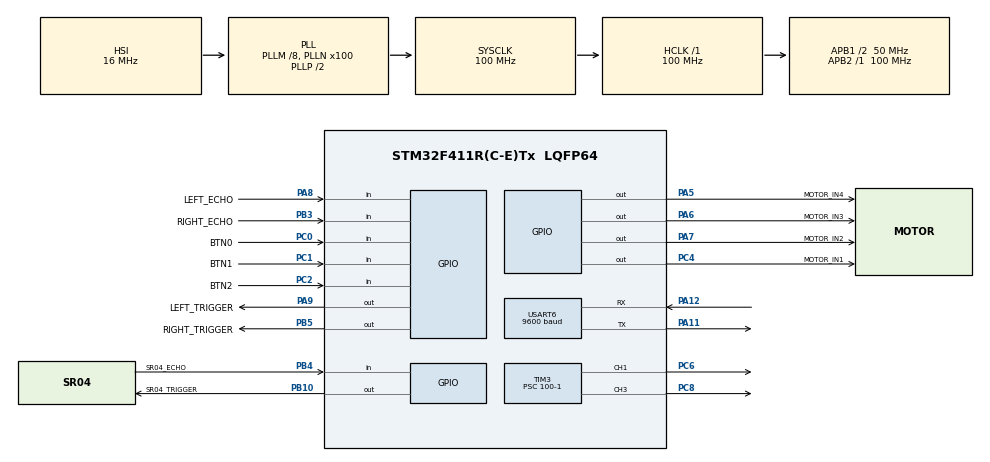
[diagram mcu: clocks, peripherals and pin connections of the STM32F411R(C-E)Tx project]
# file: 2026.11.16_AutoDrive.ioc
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FREERTOS.Tasks01=defaultTask,0,128,StartDefaultTask,Default,NULL,Dynamic,NULL,NULL;ButtonTask,1,256,StartButtonTask,Default,NULL,Dynamic,NULL,NULL;UltrasonicTask,-3,256,StartUltrasonic,Default,NULL,Dynamic,NULL,NULL;BluetoothTask,1,256,StartBluetoothTask,Default,NULL,Dynamic,NULL,NULL;ControlTask,1,256,StartControlTask,Default,NULL,Dynamic,NULL,NULL;MotorTask,2,256,StartMotorTask,Default,NULL,Dynamic,NULL,NULL
FREERTOS.configUSE_NEWLIB_REENTRANT=1
Mcu.Family=STM32F4
Mcu.Name=STM32F411R(C-E)Tx
Mcu.Package=LQFP64
NVIC.PriorityGroup=NVIC_PRIORITYGROUP_4
NVIC.TIM1_TRG_COM_TIM11_IRQn=true\:15\:0\:false\:false\:true\:false\:false\:true\:true
NVIC.TimeBase=TIM1_TRG_COM_TIM11_IRQn
NVIC.TimeBaseIP=TIM11
NVIC.USART6_IRQn=true\:5\:0\:false\:false\:true\:true\:true\:true\:true
PA11.Mode=Asynchronous
PA11.Signal=USART6_TX
PA12.Mode=Asynchronous
PA12.Signal=USART6_RX
PA13.Mode=Serial_Wire
PA13.Signal=SYS_JTMS-SWDIO
PA14.Mode=Serial_Wire
PA14.Signal=SYS_JTCK-SWCLK
PA5.GPIO_Label=MOTOR_IN4
PA5.Signal=GPIO_Output
PA6.GPIO_Label=MOTOR_IN3
PA6.Signal=GPIO_Output
PA7.GPIO_Label=MOTOR_IN2
PA7.Signal=GPIO_Output
PA8.GPIO_Label=LEFT_ECHO
PA8.Signal=GPIO_Input
PA9.GPIO_Label=LEFT_TRIGGER
PA9.Signal=GPIO_Output
PB10.GPIO_Label=SR04_TRIGGER
PB10.Signal=GPIO_Output
PB3.GPIO_Label=RIGHT_ECHO
PB3.Signal=GPIO_Input
PB4.GPIO_Label=SR04_ECHO
PB4.Signal=GPIO_Input
PB5.GPIO_Label=RIGHT_TRIGGER
PB5.Signal=GPIO_Output
PC0.GPIO_Label=BTN0
PC0.GPIO_PuPd=GPIO_NOPULL
PC0.Signal=GPIO_Input
PC1.GPIO_Label=BTN1
PC1.GPIO_PuPd=GPIO_NOPULL
PC1.Signal=GPIO_Input
PC2.GPIO_Label=BTN2
PC2.GPIO_PuPd=GPIO_NOPULL
PC2.Signal=GPIO_Input
PC4.GPIO_Label=MOTOR_IN1
PC4.Signal=GPIO_Output
PC6.Signal=S_TIM3_CH1
PC8.Signal=S_TIM3_CH3
PH0\ -\ OSC_IN.Mode=HSE-External-Oscillator
PH0\ -\ OSC_IN.Signal=RCC_OSC_IN
PH1\ -\ OSC_OUT.Mode=HSE-External-Oscillator
PH1\ -\ OSC_OUT.Signal=RCC_OSC_OUT
ProjectManager.HeapSize=0x200
ProjectManager.StackSize=0x400
ProjectManager.TargetToolchain=STM32CubeIDE
RCC.48MHZClocksFreq_Value=50000000
RCC.AHBFreq_Value=100000000
RCC.APB1CLKDivider=RCC_HCLK_DIV2
RCC.APB1Freq_Value=50000000
RCC.APB1TimFreq_Value=100000000
RCC.APB2Freq_Value=100000000
RCC.APB2TimFreq_Value=100000000
RCC.CortexFreq_Value=100000000
RCC.HCLKFreq_Value=100000000
RCC.HSE_VALUE=8000000
RCC.HSI_VALUE=16000000
RCC.LSE_VALUE=32768
RCC.PLLM=8
RCC.PLLN=100
RCC.SYSCLKFreq_VALUE=100000000
RCC.SYSCLKSource=RCC_SYSCLKSOURCE_PLLCLK
RCC.VCOOutputFreq_Value=200000000
SH.S_TIM3_CH1.0=TIM3_CH1,PWM Generation1 CH1
SH.S_TIM3_CH3.0=TIM3_CH3,PWM Generation3 CH3
TIM3.Channel-PWM\ Generation1\ CH1=TIM_CHANNEL_1
TIM3.Channel-PWM\ Generation3\ CH3=TIM_CHANNEL_3
TIM3.Period=1000-1
TIM3.Prescaler=100-1
USART6.BaudRate=9600
USART6.VirtualMode=VM_ASYNC
VP_FREERTOS_VS_CMSIS_V1.Mode=CMSIS_V1
VP_SYS_VS_tim11.Mode=TIM11
VP_TIM3_VS_ClockSourceINT.Mode=Internal
board=custom

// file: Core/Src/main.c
/* USER CODE BEGIN Header */
/**
  ******************************************************************************
  * @file           : main.c
  * @brief          : Main program body
  ******************************************************************************
  * @attention
  *
  * Copyright (c) 2026 STMicroelectronics.
  * All rights reserved.
  *
  * This software is licensed under terms that can be found in the LICENSE file
  * in the root directory of this software component.
  * If no LICENSE file comes with this software, it is provided AS-IS.
  *
  ******************************************************************************
  */
/* USER CODE END Header */
#include "main.h"
#include "cmsis_os.h"

/* USER CODE BEGIN Includes */
#include "app/car_tasks.h"
#include "driver/motor.h"

/* USER CODE END Includes */

TIM_HandleTypeDef htim3;

UART_HandleTypeDef huart6;

osThreadId defaultTaskHandle;
osThreadId ButtonTaskHandle;
osThreadId UltrasonicTaskHandle;
osThreadId BluetoothTaskHandle;
osThreadId ControlTaskHandle;
osThreadId MotorTaskHandle;

void SystemClock_Config(void);
static void MX_GPIO_Init(void);
static void MX_TIM3_Init(void);
static void MX_USART6_UART_Init(void);
void StartDefaultTask(void const * argument);
void StartButtonTask(void const * argument);
void StartUltrasonic(void const * argument);
void StartBluetoothTask(void const * argument);
void StartControlTask(void const * argument);
void StartMotorTask(void const * argument);

int main(void)
{

  /* MCU Configuration--------------------------------------------------------*/

  /* Reset of all peripherals, Initializes the Flash interface and the Systick. */
  HAL_Init();

  /* Configure the system clock */
  SystemClock_Config();

  /* Initialize all configured peripherals */
  MX_GPIO_Init();
  MX_TIM3_Init();
  MX_USART6_UART_Init();

  /* Create the thread(s) */
  /* definition and creation of defaultTask */
  osThreadDef(defaultTask, StartDefaultTask, osPriorityNormal, 0, 128);
  defaultTaskHandle = osThreadCreate(osThread(defaultTask), NULL);

  /* definition and creation of ButtonTask */
  osThreadDef(ButtonTask, StartButtonTask, osPriorityAboveNormal, 0, 256);
  ButtonTaskHandle = osThreadCreate(osThread(ButtonTask), NULL);

  /* definition and creation of UltrasonicTask */
  osThreadDef(UltrasonicTask, StartUltrasonic, osPriorityIdle, 0, 256);
  UltrasonicTaskHandle = osThreadCreate(osThread(UltrasonicTask), NULL);

  /* definition and creation of BluetoothTask */
  osThreadDef(BluetoothTask, StartBluetoothTask, osPriorityAboveNormal, 0, 256);
  BluetoothTaskHandle = osThreadCreate(osThread(BluetoothTask), NULL);

  /* definition and creation of ControlTask */
  osThreadDef(ControlTask, StartControlTask, osPriorityAboveNormal, 0, 256);
  ControlTaskHandle = osThreadCreate(osThread(ControlTask), NULL);

  /* definition and creation of MotorTask */
  osThreadDef(MotorTask, StartMotorTask, osPriorityHigh, 0, 256);
  MotorTaskHandle = osThreadCreate(osThread(MotorTask), NULL);

  /* USER CODE BEGIN RTOS_THREADS */
  if (!defaultTaskHandle || !ButtonTaskHandle || !UltrasonicTaskHandle ||
      !BluetoothTaskHandle || !ControlTaskHandle || !MotorTaskHandle) Error_Handler();
  /* USER CODE END RTOS_THREADS */

  /* Start scheduler */
  osKernelStart();

  /* We should never get here as control is now taken by the scheduler */

  /* Infinite loop */
  while (1)
  {

  }
}

void SystemClock_Config(void)
{
  RCC_OscInitTypeDef RCC_OscInitStruct = {0};
  RCC_ClkInitTypeDef RCC_ClkInitStruct = {0};

  /** Configure the main internal regulator output voltage
  */
  __HAL_RCC_PWR_CLK_ENABLE();
  __HAL_PWR_VOLTAGESCALING_CONFIG(PWR_REGULATOR_VOLTAGE_SCALE1);

  /** Initializes the RCC Oscillators according to the specified parameters
  * in the RCC_OscInitTypeDef structure.
  */
  RCC_OscInitStruct.OscillatorType = RCC_OSCILLATORTYPE_HSI;
  RCC_OscInitStruct.HSIState = RCC_HSI_ON;
  RCC_OscInitStruct.HSICalibrationValue = RCC_HSICALIBRATION_DEFAULT;
  RCC_OscInitStruct.PLL.PLLState = RCC_PLL_ON;
  RCC_OscInitStruct.PLL.PLLSource = RCC_PLLSOURCE_HSI;
  RCC_OscInitStruct.PLL.PLLM = 8;
  RCC_OscInitStruct.PLL.PLLN = 100;
  RCC_OscInitStruct.PLL.PLLP = RCC_PLLP_DIV2;
  RCC_OscInitStruct.PLL.PLLQ = 4;
  if (HAL_RCC_OscConfig(&RCC_OscInitStruct) != HAL_OK)
  {
    Error_Handler();
  }

  /** Initializes the CPU, AHB and APB buses clocks
  */
  RCC_ClkInitStruct.ClockType = RCC_CLOCKTYPE_HCLK|RCC_CLOCKTYPE_SYSCLK
                              |RCC_CLOCKTYPE_PCLK1|RCC_CLOCKTYPE_PCLK2;
  RCC_ClkInitStruct.SYSCLKSource = RCC_SYSCLKSOURCE_PLLCLK;
  RCC_ClkInitStruct.AHBCLKDivider = RCC_SYSCLK_DIV1;
  RCC_ClkInitStruct.APB1CLKDivider = RCC_HCLK_DIV2;
  RCC_ClkInitStruct.APB2CLKDivider = RCC_HCLK_DIV1;

  if (HAL_RCC_ClockConfig(&RCC_ClkInitStruct, FLASH_LATENCY_3) != HAL_OK)
  {
    Error_Handler();
  }
}

static void MX_TIM3_Init(void)
{

  TIM_ClockConfigTypeDef sClockSourceConfig = {0};
  TIM_MasterConfigTypeDef sMasterConfig = {0};
  TIM_OC_InitTypeDef sConfigOC = {0};

  htim3.Instance = TIM3;
  htim3.Init.Prescaler = 100-1;
  htim3.Init.CounterMode = TIM_COUNTERMODE_UP;
  htim3.Init.Period = 1000-1;
  htim3.Init.ClockDivision = TIM_CLOCKDIVISION_DIV1;
  htim3.Init.AutoReloadPreload = TIM_AUTORELOAD_PRELOAD_DISABLE;
  if (HAL_TIM_Base_Init(&htim3) != HAL_OK)
  {
    Error_Handler();
  }
  sClockSourceConfig.ClockSource = TIM_CLOCKSOURCE_INTERNAL;
  if (HAL_TIM_ConfigClockSource(&htim3, &sClockSourceConfig) != HAL_OK)
  {
    Error_Handler();
  }
  if (HAL_TIM_PWM_Init(&htim3) != HAL_OK)
  {
    Error_Handler();
  }
  sMasterConfig.MasterOutputTrigger = TIM_TRGO_RESET;
  sMasterConfig.MasterSlaveMode = TIM_MASTERSLAVEMODE_DISABLE;
  if (HAL_TIMEx_MasterConfigSynchronization(&htim3, &sMasterConfig) != HAL_OK)
  {
    Error_Handler();
  }
  sConfigOC.OCMode = TIM_OCMODE_PWM1;
  sConfigOC.Pulse = 0;
  sConfigOC.OCPolarity = TIM_OCPOLARITY_HIGH;
  sConfigOC.OCFastMode = TIM_OCFAST_DISABLE;
  if (HAL_TIM_PWM_ConfigChannel(&htim3, &sConfigOC, TIM_CHANNEL_1) != HAL_OK)
  {
    Error_Handler();
  }
  if (HAL_TIM_PWM_ConfigChannel(&htim3, &sConfigOC, TIM_CHANNEL_3) != HAL_OK)
  {
    Error_Handler();
  }
  HAL_TIM_MspPostInit(&htim3);

}

static void MX_USART6_UART_Init(void)
{

  huart6.Instance = USART6;
  huart6.Init.BaudRate = 9600;
  huart6.Init.WordLength = UART_WORDLENGTH_8B;
  huart6.Init.StopBits = UART_STOPBITS_1;
  huart6.Init.Parity = UART_PARITY_NONE;
  huart6.Init.Mode = UART_MODE_TX_RX;
  huart6.Init.HwFlowCtl = UART_HWCONTROL_NONE;
  huart6.Init.OverSampling = UART_OVERSAMPLING_16;
  if (HAL_UART_Init(&huart6) != HAL_OK)
  {
    Error_Handler();
  }

}

static void MX_GPIO_Init(void)
{
  GPIO_InitTypeDef GPIO_InitStruct = {0};

  /* GPIO Ports Clock Enable */
  __HAL_RCC_GPIOH_CLK_ENABLE();
  __HAL_RCC_GPIOC_CLK_ENABLE();
  __HAL_RCC_GPIOA_CLK_ENABLE();
  __HAL_RCC_GPIOB_CLK_ENABLE();

  /*Configure GPIO pin Output Level */
  HAL_GPIO_WritePin(GPIOA, MOTOR_IN4_Pin|MOTOR_IN3_Pin|MOTOR_IN2_Pin|LEFT_TRIGGER_Pin, GPIO_PIN_RESET);

  /*Configure GPIO pin Output Level */
  HAL_GPIO_WritePin(MOTOR_IN1_GPIO_Port, MOTOR_IN1_Pin, GPIO_PIN_RESET);

  /*Configure GPIO pin Output Level */
  HAL_GPIO_WritePin(GPIOB, SR04_TRIGGER_Pin|RIGHT_TRIGGER_Pin, GPIO_PIN_RESET);

  /*Configure GPIO pins : BTN0_Pin BTN1_Pin BTN2_Pin */
  GPIO_InitStruct.Pin = BTN0_Pin|BTN1_Pin|BTN2_Pin;
  GPIO_InitStruct.Mode = GPIO_MODE_INPUT;
  GPIO_InitStruct.Pull = GPIO_NOPULL;
  HAL_GPIO_Init(GPIOC, &GPIO_InitStruct);

  /*Configure GPIO pins : MOTOR_IN4_Pin MOTOR_IN3_Pin MOTOR_IN2_Pin LEFT_TRIGGER_Pin */
  GPIO_InitStruct.Pin = MOTOR_IN4_Pin|MOTOR_IN3_Pin|MOTOR_IN2_Pin|LEFT_TRIGGER_Pin;
  GPIO_InitStruct.Mode = GPIO_MODE_OUTPUT_PP;
  GPIO_InitStruct.Pull = GPIO_NOPULL;
  GPIO_InitStruct.Speed = GPIO_SPEED_FREQ_LOW;
  HAL_GPIO_Init(GPIOA, &GPIO_InitStruct);

  /*Configure GPIO pin : MOTOR_IN1_Pin */
  GPIO_InitStruct.Pin = MOTOR_IN1_Pin;
  GPIO_InitStruct.Mode = GPIO_MODE_OUTPUT_PP;
  GPIO_InitStruct.Pull = GPIO_NOPULL;
  GPIO_InitStruct.Speed = GPIO_SPEED_FREQ_LOW;
  HAL_GPIO_Init(MOTOR_IN1_GPIO_Port, &GPIO_InitStruct);

  /*Configure GPIO pins : SR04_TRIGGER_Pin RIGHT_TRIGGER_Pin */
  GPIO_InitStruct.Pin = SR04_TRIGGER_Pin|RIGHT_TRIGGER_Pin;
  GPIO_InitStruct.Mode = GPIO_MODE_OUTPUT_PP;
  GPIO_InitStruct.Pull = GPIO_NOPULL;
  GPIO_InitStruct.Speed = GPIO_SPEED_FREQ_LOW;
  HAL_GPIO_Init(GPIOB, &GPIO_InitStruct);

  /*Configure GPIO pin : LEFT_ECHO_Pin */
  GPIO_InitStruct.Pin = LEFT_ECHO_Pin;
  GPIO_InitStruct.Mode = GPIO_MODE_INPUT;
  GPIO_InitStruct.Pull = GPIO_NOPULL;
  HAL_GPIO_Init(LEFT_ECHO_GPIO_Port, &GPIO_InitStruct);

  /*Configure GPIO pins : RIGHT_ECHO_Pin SR04_ECHO_Pin */
  GPIO_InitStruct.Pin = RIGHT_ECHO_Pin|SR04_ECHO_Pin;
  GPIO_InitStruct.Mode = GPIO_MODE_INPUT;
  GPIO_InitStruct.Pull = GPIO_NOPULL;
  HAL_GPIO_Init(GPIOB, &GPIO_InitStruct);

  /* USER CODE BEGIN MX_GPIO_Init_2 */
  GPIO_InitStruct.Mode = GPIO_MODE_INPUT;
  GPIO_InitStruct.Pull = GPIO_NOPULL;
  GPIO_InitStruct.Pin = LEFT_ECHO_Pin;
  HAL_GPIO_Init(GPIOA, &GPIO_InitStruct);
  GPIO_InitStruct.Pin = RIGHT_ECHO_Pin | SR04_ECHO_Pin;
  HAL_GPIO_Init(GPIOB, &GPIO_InitStruct);

  /* USER CODE END MX_GPIO_Init_2 */
}

void StartDefaultTask(void const * argument)
{
  /* USER CODE BEGIN 5 */
  /* Infinite loop */
  for(;;)
  {
    osDelay(1000);
  }
  /* USER CODE END 5 */
}

void StartButtonTask(void const * argument)
{
  /* USER CODE BEGIN StartButtonTask */
  car_button_task();
  /* USER CODE END StartButtonTask */
}

void StartUltrasonic(void const * argument)
{
  /* USER CODE BEGIN StartUltrasonic */
  car_ultrasonic_task();
  /* USER CODE END StartUltrasonic */
}

void StartBluetoothTask(void const * argument)
{
  /* USER CODE BEGIN StartBluetoothTask */
  car_bluetooth_task();
  /* USER CODE END StartBluetoothTask */
}

void StartControlTask(void const * argument)
{
  /* USER CODE BEGIN StartControlTask */
  car_control_task();
  /* USER CODE END StartControlTask */
}

void StartMotorTask(void const * argument)
{
  /* USER CODE BEGIN StartMotorTask */
  car_motor_task();
  /* USER CODE END StartMotorTask */
}

void HAL_TIM_PeriodElapsedCallback(TIM_HandleTypeDef *htim)
{
  if (htim->Instance == TIM11)
  {
    HAL_IncTick();
  }
}

void Error_Handler(void)
{
  /* USER CODE BEGIN Error_Handler_Debug */
  if (htim3.Instance == TIM3) motor_stop();
  /* User can add his own implementation to report the HAL error return state */
  __disable_irq();
  while (1)
  {
  }
  /* USER CODE END Error_Handler_Debug */
}

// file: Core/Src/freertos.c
/* USER CODE BEGIN Header */
/**
  ******************************************************************************
  * File Name          : freertos.c
  * Description        : Code for freertos applications
  ******************************************************************************
  * @attention
  *
  * Copyright (c) 2026 STMicroelectronics.
  * All rights reserved.
  *
  * This software is licensed under terms that can be found in the LICENSE file
  * in the root directory of this software component.
  * If no LICENSE file comes with this software, it is provided AS-IS.
  *
  ******************************************************************************
  */
/* USER CODE END Header */

#include "FreeRTOS.h"
#include "task.h"
#include "main.h"

/* USER CODE BEGIN Includes */
#include "cmsis_os.h"
#include "app/car_tasks.h"
#include "driver/motor.h"
#include "driver/button.h"
#include "driver/ultrasonic.h"
#include "driver/bluetooth.h"
#include "app/car_control.h"
#include "app/rtos_trace.h"

/* USER CODE END Includes */

/* USER CODE BEGIN PTD */

typedef struct
{
    uint32_t samples;
    uint32_t interval_min_ms;
    uint32_t interval_max_ms;
    uint32_t interval_avg_us;
    uint32_t work_min_cycles;
    uint32_t work_max_cycles;
    uint32_t work_avg_cycles;
    uint32_t clock_hz;
} control_timing_t;

/* USER CODE END PTD */

/* USER CODE BEGIN PD */

#define CONTROL_TIMING_SAMPLES 1000U
#define CONTROL_PERIOD_MS 10U

/* USER CODE END PD */

/* USER CODE BEGIN Variables */

volatile uint32_t control_interval_ms;
volatile control_timing_t control_timing;
/* Change to 0 in GDB before ControlTask starts to compare with osDelay(). */
volatile uint32_t control_use_fixed_period = 1U;

/* USER CODE END Variables */

/* GetIdleTaskMemory prototype (linked to static allocation support) */
void vApplicationGetIdleTaskMemory( StaticTask_t **ppxIdleTaskTCBBuffer, StackType_t **ppxIdleTaskStackBuffer, uint32_t *pulIdleTaskStackSize );

/* USER CODE BEGIN GET_IDLE_TASK_MEMORY */
static StaticTask_t xIdleTaskTCBBuffer;
static StackType_t xIdleStack[configMINIMAL_STACK_SIZE];

void vApplicationGetIdleTaskMemory( StaticTask_t **ppxIdleTaskTCBBuffer, StackType_t **ppxIdleTaskStackBuffer, uint32_t *pulIdleTaskStackSize )
{
  *ppxIdleTaskTCBBuffer = &xIdleTaskTCBBuffer;
  *ppxIdleTaskStackBuffer = &xIdleStack[0];
  *pulIdleTaskStackSize = configMINIMAL_STACK_SIZE;
  /* place for user code */
}
/* USER CODE END GET_IDLE_TASK_MEMORY */

/* USER CODE BEGIN Application */

/* Tiny task-only mailboxes protected during copies, never during GPIO polling.
 * ControlTask exclusively owns the FSM. MotorTask exclusively owns PWM.
 * Stop is latched independently so a later movement byte cannot overwrite it.
 */
static car_input_t car_inputs;
static car_output_t car_output;

void car_button_task(void)
{
    button_init();
    for (;;)
    {
        car_rtos_trace_mark(CAR_TRACE_JOB_START, 0U);
        button_update();
        uint8_t auto_event = button_get_press_event(BUTTON_0);
        uint8_t manual_event = button_get_press_event(BUTTON_1);
        uint8_t stop = button_is_pressed(BUTTON_2);
        (void)button_get_press_event(BUTTON_2);
        taskENTER_CRITICAL();
        if (stop) car_inputs.stop = 1;
        else if (manual_event) car_inputs.mode_request = 2;
        else if (auto_event) car_inputs.mode_request = 1;
        taskEXIT_CRITICAL();
        car_rtos_trace_mark(CAR_TRACE_JOB_END, 0U);
        osDelay(5);
    }
}
void car_ultrasonic_task(void)
{
    ultrasonic_init();
    for (;;)
    {
        for (unsigned i = 0; i < ULTRASONIC_COUNT; i++)
        {
            car_rtos_trace_mark(CAR_TRACE_JOB_START, (uint16_t)i);
            car_range_t sample = {0};
            sample.valid = ultrasonic_read_cm((ultrasonic_id_t)i, &sample.cm);
            sample.tick = HAL_GetTick();
            taskENTER_CRITICAL();
            car_inputs.range[i] = sample;
            taskEXIT_CRITICAL();
            car_rtos_trace_mark(CAR_TRACE_RANGE, (uint16_t)((i << 10) | sample.cm));
            car_rtos_trace_mark(CAR_TRACE_JOB_END, (uint16_t)i);
            osDelay(60);
        }
    }
}
void car_bluetooth_task(void)
{
    uint32_t old_errors = 0, old_overflows = 0;
    if (!bluetooth_init())
    {
        taskENTER_CRITICAL();
        car_inputs.stop = 1;
        taskEXIT_CRITICAL();
        for (;;) osDelay(100);
    }
    for (;;)
    {
        car_rtos_trace_mark(CAR_TRACE_JOB_START, 0U);
        bluetooth_service();
        uint32_t errors = bluetooth_get_error_count();
        uint32_t overflows = bluetooth_get_overflow_count();
        uint8_t command = 0, mode = 0;
        uint8_t stop = errors != old_errors || overflows != old_overflows;
        old_errors = errors;
        old_overflows = overflows;
        for (unsigned i = 0; i < 64; i++)
        {
            uint8_t data;
            if (!bluetooth_read_byte(&data)) break;
            if (data >= 'a' && data <= 'z') data -= 'a' - 'A';
            switch (data)
            {
            case 'S': stop = 1; break;
            case 'A': mode = 1; command = 0; break;
            case 'M': mode = 2; command = 0; break;
            case 'F': case 'B': case 'L': case 'R': command = data; break;
            default: break; /* CR/LF and unknown bytes do not renew timeout. */
            }
        }
        taskENTER_CRITICAL();
        if (stop) car_inputs.stop = 1;
        if (mode) car_inputs.mode_request = mode;
        if (command) { car_inputs.command = command; car_inputs.command_tick = HAL_GetTick(); }
        taskEXIT_CRITICAL();
        car_rtos_trace_mark(CAR_TRACE_JOB_END, 0U);
        osDelay(5);
    }
}

void car_control_task(void)
{
    car_control_t car;
    car_control_init(&car);

    uint32_t last_start_ms = 0U;
    uint32_t samples = 0U;
    uint32_t interval_min_ms = UINT32_MAX, interval_max_ms = 0U;
    uint32_t work_min_cycles = UINT32_MAX, work_max_cycles = 0U;
    uint64_t interval_sum_ms = 0U, work_sum_cycles = 0U;
    uint8_t have_last_start = 0U;

    /* Share the cycle counter with the ultrasonic driver without resetting it. */
    CoreDebug->DEMCR |= CoreDebug_DEMCR_TRCENA_Msk;
    DWT->CTRL |= DWT_CTRL_CYCCNTENA_Msk;
    control_timing.clock_hz = HAL_RCC_GetHCLKFreq();

    TickType_t last_release = xTaskGetTickCount();
    const TickType_t period = pdMS_TO_TICKS(CONTROL_PERIOD_MS);
    const uint8_t fixed_period = control_use_fixed_period != 0U;
    for (;;)
    {
        car_rtos_trace_mark(CAR_TRACE_JOB_START, 0U);
        // [추가 1] ControlTask 실행 시작
        uint32_t start_ms = HAL_GetTick();
        HAL_GPIO_WritePin(GPIOB, GPIO_PIN_0, GPIO_PIN_SET);
        uint32_t work_start = DWT->CYCCNT;

        car_input_t input;
        taskENTER_CRITICAL();
        input = car_inputs;
        car_inputs.stop = car_inputs.mode_request = car_inputs.command = 0;
        taskEXIT_CRITICAL();

        car_output_t output =
            car_control_step(&car, &input, HAL_GetTick());

        taskENTER_CRITICAL();
        car_output = output;
        taskEXIT_CRITICAL();

        // [추가 2] ControlTask 처리 종료
        uint32_t work_cycles = DWT->CYCCNT - work_start;
        HAL_GPIO_WritePin(GPIOB, GPIO_PIN_0, GPIO_PIN_RESET);

        if (have_last_start)
        {
            uint32_t interval_ms = start_ms - last_start_ms;
            control_interval_ms = interval_ms;

            if (samples < CONTROL_TIMING_SAMPLES)
            {
                if (interval_ms < interval_min_ms) interval_min_ms = interval_ms;
                if (interval_ms > interval_max_ms) interval_max_ms = interval_ms;
                if (work_cycles < work_min_cycles) work_min_cycles = work_cycles;
                if (work_cycles > work_max_cycles) work_max_cycles = work_cycles;
                interval_sum_ms += interval_ms;
                work_sum_cycles += work_cycles;
                ++samples;

                if (samples == CONTROL_TIMING_SAMPLES)
                {
                    control_timing.interval_min_ms = interval_min_ms;
                    control_timing.interval_max_ms = interval_max_ms;
                    control_timing.interval_avg_us =
                        (uint32_t)((interval_sum_ms * 1000U + CONTROL_TIMING_SAMPLES / 2U) /
                                   CONTROL_TIMING_SAMPLES);
                    control_timing.work_min_cycles = work_min_cycles;
                    control_timing.work_max_cycles = work_max_cycles;
                    control_timing.work_avg_cycles =
                        (uint32_t)((work_sum_cycles + CONTROL_TIMING_SAMPLES / 2U) /
                                   CONTROL_TIMING_SAMPLES);
                }
                control_timing.samples = samples;
            }
        }
        last_start_ms = start_ms;
        have_last_start = 1U;
        car_rtos_trace_mark(CAR_TRACE_JOB_END, 0U);
        if (fixed_period)
        {
            const TickType_t elapsed = xTaskGetTickCount() - last_release;
            if (elapsed > period)
            {
                /* Retain phase but skip missed releases instead of running a burst. */
                const TickType_t missed = elapsed / period;
                last_release += missed * period;
                car_rtos_trace_mark(CAR_TRACE_SKIPPED_RELEASES,
                                    missed > UINT16_MAX ? UINT16_MAX : (uint16_t)missed);
            }
            vTaskDelayUntil(&last_release, period);
        }
        else
        {
            osDelay(CONTROL_PERIOD_MS);
        }
    }
}

void car_motor_task(void)
{
    int16_t last_left = 0, last_right = 0;
    uint32_t left_drive_tick = 0, right_drive_tick = 0;
    motor_init();
    for (;;)
    {
        car_rtos_trace_mark(CAR_TRACE_JOB_START, 0U);
        car_output_t output;
        uint8_t stop;
        taskENTER_CRITICAL();
        output = car_output;
        stop = car_inputs.stop;
        taskEXIT_CRITICAL();
        uint32_t now = HAL_GetTick();
        if (stop || (uint32_t)(now - output.tick) >= 100U)
            output.left = output.right = 0;
        if (((last_left * output.left < 0) && (uint32_t)(now - left_drive_tick) < 50U) ||
            ((last_right * output.right < 0) && (uint32_t)(now - right_drive_tick) < 50U))
            output.left = output.right = 0;
        motor_set(output.left, output.right);
        if (output.left) { last_left = output.left; left_drive_tick = now; }
        if (output.right) { last_right = output.right; right_drive_tick = now; }
        car_rtos_trace_mark(CAR_TRACE_JOB_END, 0U);
        osDelay(5);
    }
}

/* USER CODE END Application */
